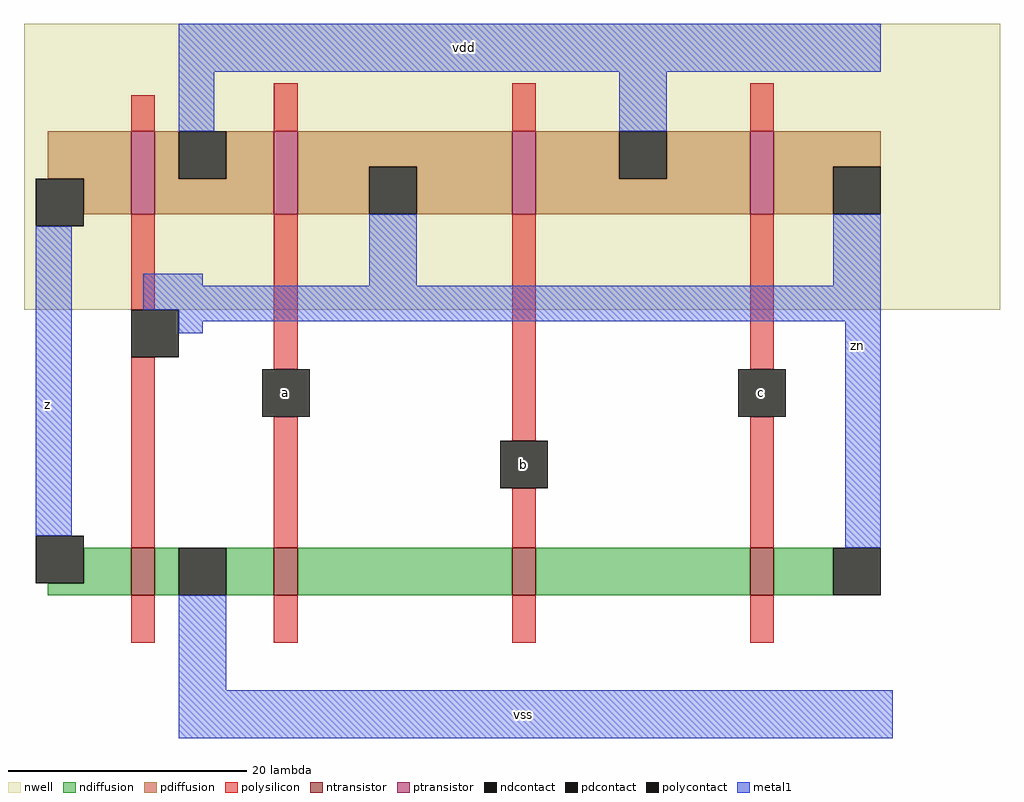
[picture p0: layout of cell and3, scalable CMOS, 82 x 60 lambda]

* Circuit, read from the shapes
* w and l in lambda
.subckt and3 a b c vdd vss z zn
M1 vss zn z VSUBS nfet w=4 l=2
M2 n1 a vss VSUBS nfet w=4 l=2
M3 n2 b n1 VSUBS nfet w=4 l=2
M4 zn c n2 VSUBS nfet w=4 l=2
M5 vdd zn z n3 pfet w=7 l=2
M6 zn a vdd n3 pfet w=7 l=2
M7 vdd b zn n3 pfet w=7 l=2
M8 zn c vdd n3 pfet w=7 l=2
.ends

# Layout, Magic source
magic
tech scmos
<< nwell >>
rect -2 37 80 61
<< polysilicon >>
rect 7 52 9 55
rect 19 52 21 56
rect 39 52 41 56
rect 59 52 61 56
rect 7 37 9 45
rect 7 17 9 33
rect 19 32 21 45
rect 19 17 21 28
rect 39 26 41 45
rect 59 32 61 45
rect 39 17 41 22
rect 59 17 61 28
rect 7 9 9 13
rect 19 9 21 13
rect 39 9 41 13
rect 59 9 61 13
<< ndiffusion >>
rect 3 14 7 17
rect 0 13 7 14
rect 9 13 11 17
rect 15 13 19 17
rect 21 13 39 17
rect 41 13 59 17
rect 61 13 66 17
<< pdiffusion >>
rect 0 48 7 52
rect 3 45 7 48
rect 9 48 11 52
rect 15 48 19 52
rect 9 45 19 48
rect 21 49 39 52
rect 21 45 27 49
rect 31 45 39 49
rect 41 48 48 52
rect 52 48 59 52
rect 41 45 59 48
rect 61 49 70 52
rect 61 45 66 49
<< metal1 >>
rect 11 57 70 61
rect 11 52 14 57
rect 48 52 52 57
rect -1 18 2 44
rect 8 39 13 40
rect 27 39 31 45
rect 66 39 70 45
rect 8 37 70 39
rect 11 36 70 37
rect 11 35 13 36
rect 67 17 70 36
rect 11 5 15 13
rect 11 1 71 5
<< ntransistor >>
rect 7 13 9 17
rect 19 13 21 17
rect 39 13 41 17
rect 59 13 61 17
<< ptransistor >>
rect 7 45 9 52
rect 19 45 21 52
rect 39 45 41 52
rect 59 45 61 52
<< polycontact >>
rect 7 33 11 37
rect 18 28 22 32
rect 58 28 62 32
rect 38 22 42 26
<< ndcontact >>
rect -1 14 3 18
rect 11 13 15 17
rect 66 13 70 17
<< pdcontact >>
rect -1 44 3 48
rect 11 48 15 52
rect 27 45 31 49
rect 48 48 52 52
rect 66 45 70 49
<< labels >>
rlabel metal1 35 59 35 59 5 vdd
rlabel polycontact 20 30 20 30 1 a
rlabel polycontact 60 30 60 30 1 c
rlabel metal1 40 3 40 3 1 vss
rlabel polycontact 40 24 40 24 1 b
rlabel metal1 68 34 68 34 1 zn
rlabel metal1 0 29 0 29 3 z
<< end >>
